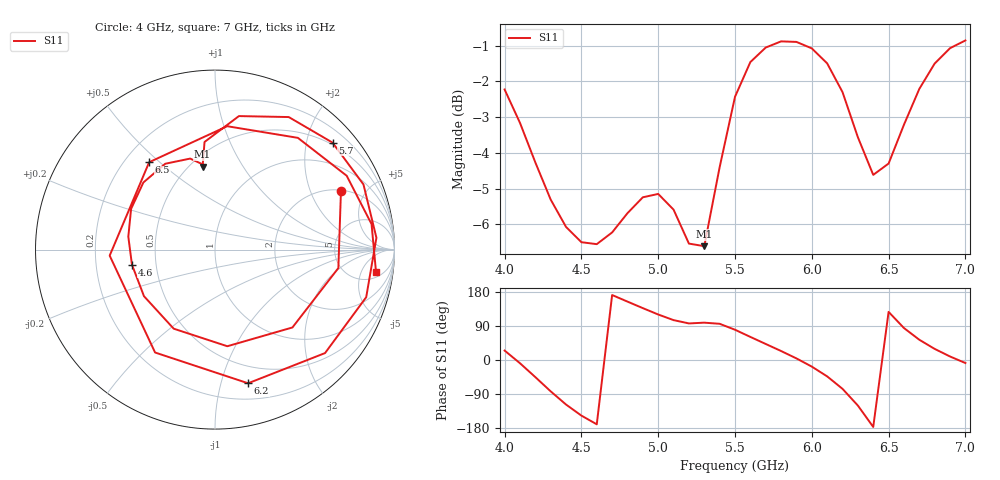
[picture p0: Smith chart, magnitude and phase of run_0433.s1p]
! Touchstone file exported from HFSS 2024.2.0
!  File:  C:/Users/wsak9/Desktop/Sim Fast/Widenad Patch/WP_AI_V1_sweep.aedt
!  Generated:  09:46:52 AM Oct 14, 2026
!  Design:  A1_model
!  Project:  WP_AI_V1_sweep
!  Setup:  Setup1
!  Solution:  Sweep
! Variables:
!  Air_gap = 3.81mm
!  Curve_Amp1 = 3.2
!  Curve_len1 = 1
!  Curve_pos = 11.53mm
!  Extra = 2.53mm
!  H_sub = 0.79mm
!  L_Patch = 19.06mm
!  L_Patch1 = 18.87mm
!  Sx = 0.6mm
!  Sy = 4.72mm
!  WS = 1.16mm
!  W_Patch = 19.36mm
!  W_Patch1 = 16.34mm
!Data is not renormalized
# GHz S MA
! Terminal data exported
! Port[1] = 1
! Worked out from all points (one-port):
!   31 points, 4 GHz to 7 GHz, reference per port
!   lowest |S11| = -6.6 dB at 5.3 GHz (marker M1), VSWR 2.75
!   |S11| at or under -10 dB: nowhere
!   S11 on the Smith chart (normalised r, x): 4 GHz: 2.06, +3.34; 4.6 GHz: 0.36, -0.08; 5.7 GHz: 0.45, +2.51; 6.2 GHz: 0.34, -1.22; 6.5 GHz: 0.30, +0.46; 7 GHz: 7, -10
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4  0.7737 24.9
4.1  0.695 -8.5
4.2  0.6118 -45.2
4.3  0.5428 -82.7
4.4  0.4971 -117.6
4.5  0.4733 -146.7
4.6  0.4703 -169.7
4.8  0.5196 154.1
5  0.5528 120.1
5.2  0.4711 96.5
5.3  0.4672 98.5
5.4  0.6025 95.6
5.5  0.7557 79.8
5.6  0.8451 60.9
5.7  0.8855 42.3
5.8  0.9033 23.7
5.9  0.9018 4.2
6  0.8832 -17.5
6.1  0.8416 -43.2
6.2  0.7673 -76.1
6.3  0.6635 -120.2
6.4  0.5878 -176.7
6.5  0.6096 127.0
6.6  0.6908 84.3
6.7  0.7752 53.4
6.8  0.8412 29.3
6.9  0.8837 9.3
7  0.906 -8.0
